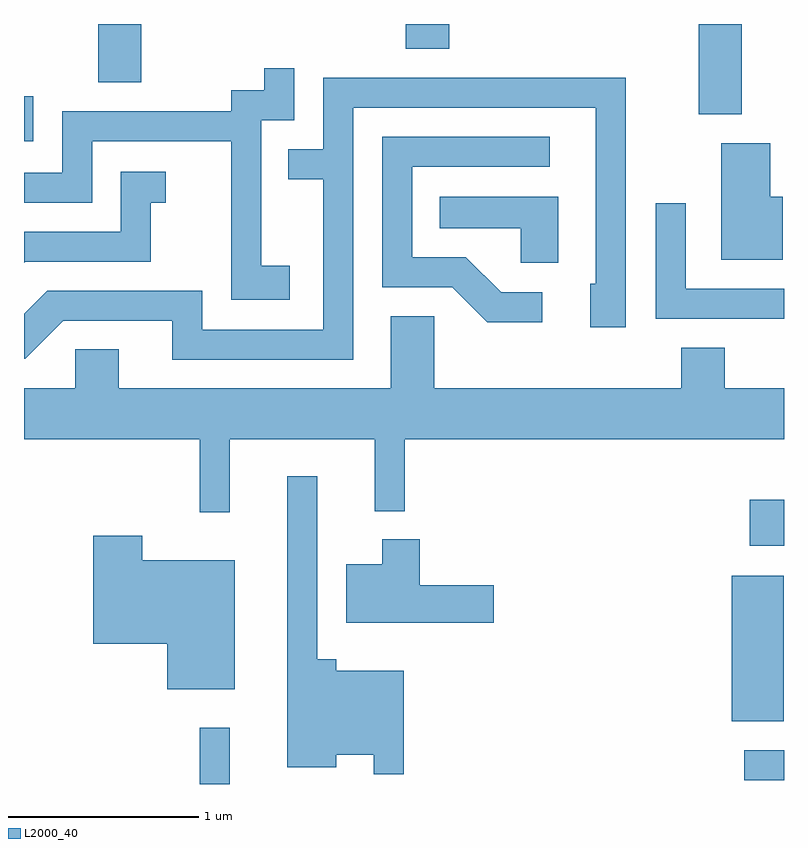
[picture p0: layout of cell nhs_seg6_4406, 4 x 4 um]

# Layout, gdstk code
import gdstk
lib = gdstk.Library(unit=1e-6, precision=1e-09)
def R(c, l, rs):  # rectangles x0, y0, x1, y1
    for r in rs: c.add(gdstk.rectangle(r[:2], r[2:], *l))
def P(c, l, *ps):  # polygons
    for p in ps: c.add(gdstk.Polygon(p, *l))
L2000_40 = (2000, 40)

nhs_seg6_4406 = lib.new_cell('nhs_seg6_4406')
R(nhs_seg6_4406, L2000_40, [(320.536,1608.162,320.694,1608.458), (323.403,1608.181,323.611,1608.339), (323.336,1608.491,323.609,1609.259), (323.431,1609.416,323.611,1609.659), (319.611,1611.546,319.659,1611.783), (323.161,1611.686,323.389,1612.162), (320.001,1611.856,320.229,1612.162), (321.621,1612.031,321.849,1612.162)])
P(nhs_seg6_4406, L2000_40, [(321.009,1610.889),(320.859,1610.889),(320.859,1611.656),(321.034,1611.656),(321.034,1611.928),(320.876,1611.928),(320.876,1611.814),(320.701,1611.814),(320.701,1611.704),(319.811,1611.704),(319.811,1611.379),(319.611,1611.379),(319.611,1611.221),(319.969,1611.221),(319.969,1611.546),(320.701,1611.546),(320.701,1610.711),(321.009,1610.711)],
  [(321.344,1611.721),(322.621,1611.721),(322.621,1610.794),(322.591,1610.794),(322.591,1610.566),(322.779,1610.566),(322.779,1611.879),(321.186,1611.879),(321.186,1611.504),(321.003,1611.504),(321.003,1611.346),(321.186,1611.346),(321.186,1610.554),(320.549,1610.554),(320.549,1610.759),(319.734,1610.759),(319.611,1610.636),(319.611,1610.401),(319.617,1610.401),(319.817,1610.601),(320.391,1610.601),(320.391,1610.396),(321.344,1610.396)],
  [(322.338,1610.749),(322.122,1610.749),(321.937,1610.934),(321.654,1610.934),(321.654,1611.411),(322.378,1611.411),(322.378,1611.569),(321.496,1611.569),(321.496,1610.776),(321.864,1610.776),(322.049,1610.591),(322.338,1610.591)],
  [(323.604,1611.254),(323.539,1611.254),(323.539,1611.534),(323.281,1611.534),(323.281,1610.921),(323.604,1610.921)],
  [(319.617,1610.911),(320.279,1610.911),(320.279,1611.221),(320.358,1611.221),(320.358,1611.384),(320.121,1611.384),(320.121,1611.069),(319.611,1611.069),(319.611,1610.905)],
  [(322.424,1611.254),(321.798,1611.254),(321.798,1611.086),(322.226,1611.086),(322.226,1610.906),(322.424,1610.906)],
  [(323.611,1610.769),(323.094,1610.769),(323.094,1611.218),(322.936,1611.218),(322.936,1610.611),(323.611,1610.611)],
  [(320.694,1609.976),(321.456,1609.976),(321.456,1609.598),(321.614,1609.598),(321.614,1609.976),(323.611,1609.976),(323.611,1610.244),(323.299,1610.244),(323.299,1610.459),(323.071,1610.459),(323.071,1610.244),(321.769,1610.244),(321.769,1610.624),(321.541,1610.624),(321.541,1610.244),(320.109,1610.244),(320.109,1610.449),(319.881,1610.449),(319.881,1610.244),(319.611,1610.244),(319.611,1609.976),(320.536,1609.976),(320.536,1609.593),(320.694,1609.593)],
  [(321.609,1608.759),(321.254,1608.759),(321.254,1608.819),(321.154,1608.819),(321.154,1609.783),(320.996,1609.783),(320.996,1608.251),(321.254,1608.251),(321.254,1608.316),(321.451,1608.316),(321.451,1608.213),(321.609,1608.213)],
  [(320.719,1609.339),(320.234,1609.339),(320.234,1609.469),(319.976,1609.469),(319.976,1608.901),(320.366,1608.901),(320.366,1608.661),(320.719,1608.661)],
  [(322.084,1609.209),(321.694,1609.209),(321.694,1609.449),(321.496,1609.449),(321.496,1609.319),(321.306,1609.319),(321.306,1609.011),(322.084,1609.011)])

lib.write_gds('nhs_seg6_4406.gds')
